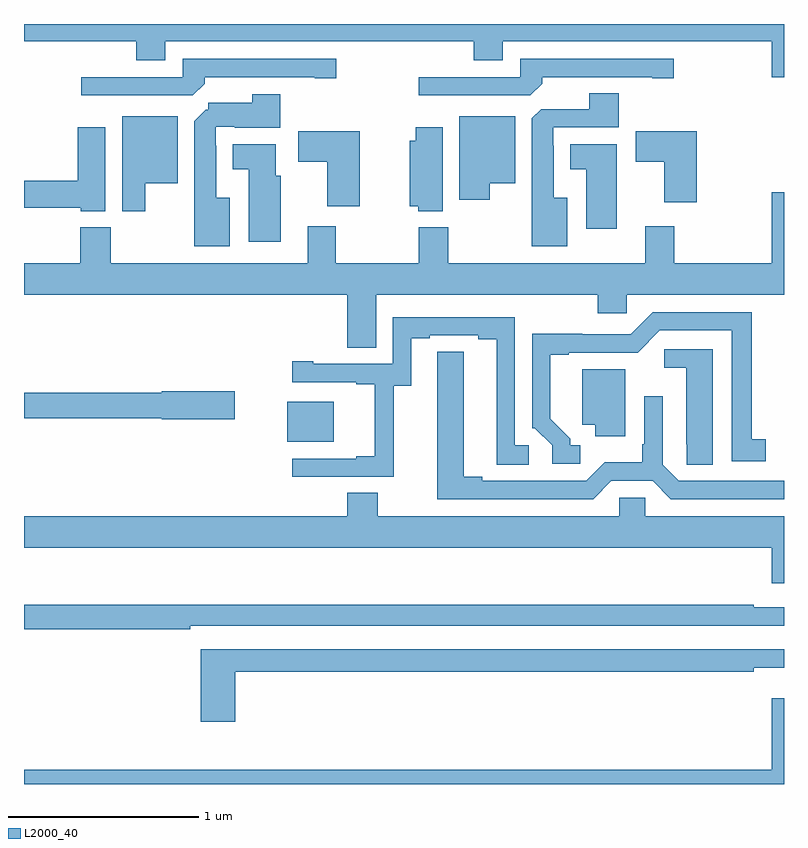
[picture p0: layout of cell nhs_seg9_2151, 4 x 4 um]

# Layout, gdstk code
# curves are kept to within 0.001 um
import gdstk
lib = gdstk.Library(unit=1e-6, precision=1e-09)
def R(c, l, rs):  # rectangles x0, y0, x1, y1
    for r in rs: c.add(gdstk.rectangle(r[:2], r[2:], *l))
def P(c, l, *ps):  # polygons
    for p in ps: c.add(gdstk.Polygon(p, *l))
L2000_40 = (2000, 40)

nhs_seg9_2151 = lib.new_cell('nhs_seg9_2151')
R(nhs_seg9_2151, L2000_40, [(234.386,1206.302,234.631,1206.511)])
P(nhs_seg9_2151, L2000_40, [(237,1208.5),(233,1208.5),(233,1208.408),(233.591,1208.408),(233.591,1208.309),(233.743,1208.309),(233.743,1208.408),(235.367,1208.408),(235.367,1208.309),(235.519,1208.309),(235.519,1208.408),(236.936,1208.408),(236.936,1208.22),(237,1208.22)],
  [(233.951,1208.186),(233.951,1208.22),(234.53,1208.22),(234.53,1208.215),(234.643,1208.215),(234.643,1208.316),(233.835,1208.316),(233.835,1208.22),(233.301,1208.22),(233.301,1208.124),(233.889,1208.124)],
  [(235.727,1208.186),(235.727,1208.22),(236.306,1208.22),(236.306,1208.215),(236.419,1208.215),(236.419,1208.316),(235.611,1208.316),(235.611,1208.22),(235.077,1208.22),(235.077,1208.124),(235.665,1208.124)],
  [(235.858,1207.585),(235.789,1207.585),(235.789,1207.859),(235.785,1207.859),(235.785,1207.956),(236.129,1207.956),(236.129,1208.135),(235.976,1208.135),(235.976,1208.052),(235.722,1208.052),(235.673,1208.003),(235.673,1207.331),(235.858,1207.331)],
  [(234.082,1207.585),(234.013,1207.585),(234.013,1207.859),(234.009,1207.859),(234.009,1207.959),(234.109,1207.959),(234.109,1207.955),(234.349,1207.955),(234.349,1208.131),(234.2,1208.131),(234.2,1208.085),(233.97,1208.085),(233.97,1208.049),(233.957,1208.049),(233.897,1207.989),(233.897,1207.331),(234.082,1207.331)],
  [(233.638,1207.661),(233.809,1207.661),(233.809,1208.014),(233.516,1208.014),(233.516,1207.515),(233.638,1207.515)],
  [(235.45,1207.661),(235.585,1207.661),(235.585,1208.014),(235.292,1208.014),(235.292,1207.575),(235.45,1207.575)],
  [(233.428,1207.957),(233.282,1207.957),(233.282,1207.676),(233,1207.676),(233,1207.534),(233.298,1207.534),(233.298,1207.514),(233.428,1207.514)],
  [(235.204,1207.957),(235.063,1207.957),(235.063,1207.885),(235.031,1207.885),(235.031,1207.541),(235.074,1207.541),(235.074,1207.514),(235.204,1207.514)],
  [(234.766,1207.936),(234.444,1207.936),(234.444,1207.774),(234.596,1207.774),(234.596,1207.541),(234.766,1207.541)],
  [(236.54,1207.936),(236.22,1207.936),(236.22,1207.774),(236.369,1207.774),(236.369,1207.563),(236.54,1207.563)],
  [(234.352,1207.701),(234.325,1207.701),(234.325,1207.867),(234.098,1207.867),(234.098,1207.736),(234.182,1207.736),(234.182,1207.353),(234.352,1207.353)],
  [(236.119,1207.867),(235.874,1207.867),(235.874,1207.736),(235.958,1207.736),(235.958,1207.422),(236.119,1207.422)],
  [(234.853,1207.076),(236.021,1207.076),(236.021,1206.978),(236.172,1206.978),(236.172,1207.076),(237,1207.076),(237,1207.615),(236.936,1207.615),(236.936,1207.24),(236.423,1207.24),(236.423,1207.435),(236.27,1207.435),(236.27,1207.24),(235.233,1207.24),(235.233,1207.429),(235.078,1207.429),(235.078,1207.24),(234.642,1207.24),(234.642,1207.435),(234.494,1207.435),(234.494,1207.24),(233.457,1207.24),(233.457,1207.429),(233.297,1207.429),(233.297,1207.24),(233,1207.24),(233,1207.076),(234.701,1207.076),(234.701,1206.796),(234.853,1206.796)],
  [(235.927,1206.282),(235.876,1206.282),(235.876,1206.317),(235.771,1206.422),(235.771,1206.759),(235.867,1206.759),(235.867,1206.771),(236.229,1206.771),(236.346,1206.888),(236.726,1206.888),(236.726,1206.198),(236.905,1206.198),(236.905,1206.314),(236.83,1206.314),(236.83,1206.984),(236.31,1206.984),(236.193,1206.867),(235.937,1206.867),(235.937,1206.869),(235.674,1206.869),(235.674,1206.372),(235.689,1206.372),(235.779,1206.282),(235.779,1206.186),(235.927,1206.186)],
  [(234.945,1206.595),(235.039,1206.595),(235.039,1206.846),(235.135,1206.846),(235.135,1206.861),(235.391,1206.861),(235.391,1206.841),(235.487,1206.841),(235.487,1206.181),(235.657,1206.181),(235.657,1206.282),(235.584,1206.282),(235.584,1206.957),(234.942,1206.957),(234.942,1206.711),(234.523,1206.711),(234.523,1206.724),(234.411,1206.724),(234.411,1206.615),(234.749,1206.615),(234.749,1206.603),(234.845,1206.603),(234.845,1206.226),(234.749,1206.226),(234.749,1206.213),(234.411,1206.213),(234.411,1206.117),(234.945,1206.117)],
  [(236.626,1206.789),(236.37,1206.789),(236.37,1206.692),(236.486,1206.692),(236.486,1206.289),(236.487,1206.289),(236.487,1206.181),(236.626,1206.181)],
  [(236.091,1206.096),(236.309,1206.096),(236.405,1206),(237,1206),(237,1206.096),(236.445,1206.096),(236.361,1206.18),(236.361,1206.541),(236.265,1206.541),(236.265,1206.289),(236.253,1206.289),(236.253,1206.193),(236.056,1206.193),(235.959,1206.096),(235.411,1206.096),(235.411,1206.116),(235.315,1206.116),(235.315,1206.776),(235.176,1206.776),(235.175,1206),(235.995,1206)],
  [(236.164,1206.682),(235.937,1206.682),(235.937,1206.392),(236.006,1206.392),(236.006,1206.33),(236.164,1206.33)],
  [(234.109,1206.566),(233.724,1206.566),(233.724,1206.56),(233,1206.56),(233,1206.424),(233.724,1206.424),(233.724,1206.419),(234.109,1206.419)],
  [(237,1205.908),(236.271,1205.908),(236.271,1206.006),(236.133,1206.006),(236.133,1205.908),(234.861,1205.908),(234.861,1206.032),(234.701,1206.032),(234.701,1205.908),(233,1205.908),(233,1205.744),(236.936,1205.744),(236.936,1205.556),(237,1205.556)],
  [(233.876,1205.334),(237,1205.334),(237,1205.43),(236.84,1205.43),(236.84,1205.443),(233,1205.443),(233,1205.314),(233.876,1205.314)],
  [(234.113,1205.092),(236.84,1205.092),(236.84,1205.111),(237,1205.111),(237,1205.208),(233.93,1205.208),(233.93,1204.827),(234.113,1204.827)],
  [(237,1204.951),(236.936,1204.951),(236.936,1204.576),(233,1204.576),(233,1204.5),(237,1204.5)])

lib.write_gds('nhs_seg9_2151.gds')
